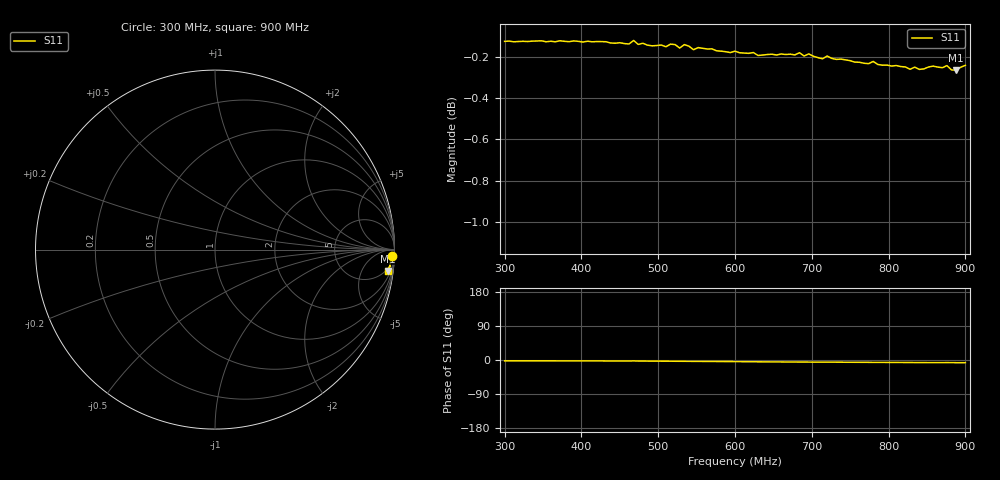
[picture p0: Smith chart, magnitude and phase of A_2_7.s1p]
# HZ S RI R 50
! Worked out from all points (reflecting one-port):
!   101 points, 300 MHz to 900 MHz, reference 50 ohm
!   lowest |S11| = -0.3 dB at 888 MHz (marker M1), VSWR 66.17, Z = 189 - j766 ohm
!   phase of S11 starts at -2 deg and turns -5 deg over the sweep
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3e8  0.9852 -0.0369
3.78e8  0.9851 -0.0392
4.02e8  0.9847 -0.0397
4.5e8  0.9841 -0.045
4.62e8  0.9833 -0.0467
4.68e8  0.9856 -0.0402
4.74e8  0.983 -0.0481
5.1e8  0.9814 -0.0543
5.16e8  0.9828 -0.0547
5.28e8  0.9805 -0.0579
5.34e8  0.9824 -0.0583
5.46e8  0.9793 -0.0617
6e8  0.9778 -0.0725
6.48e8  0.9751 -0.0859
6.54e8  0.9747 -0.0852
6.78e8  0.9742 -0.0912
6.96e8  0.9746 -0.0931
7.02e8  0.973 -0.0965
7.32e8  0.9711 -0.0978
7.5e8  0.97 -0.1014
8.28e8  0.9642 -0.1112
8.34e8  0.965 -0.1144
8.52e8  0.9647 -0.1173
8.7e8  0.9642 -0.1186
8.76e8  0.9657 -0.1152
8.88e8  0.9629 -0.119
8.94e8  0.9642 -0.1212
9e8  0.9654 -0.1197
